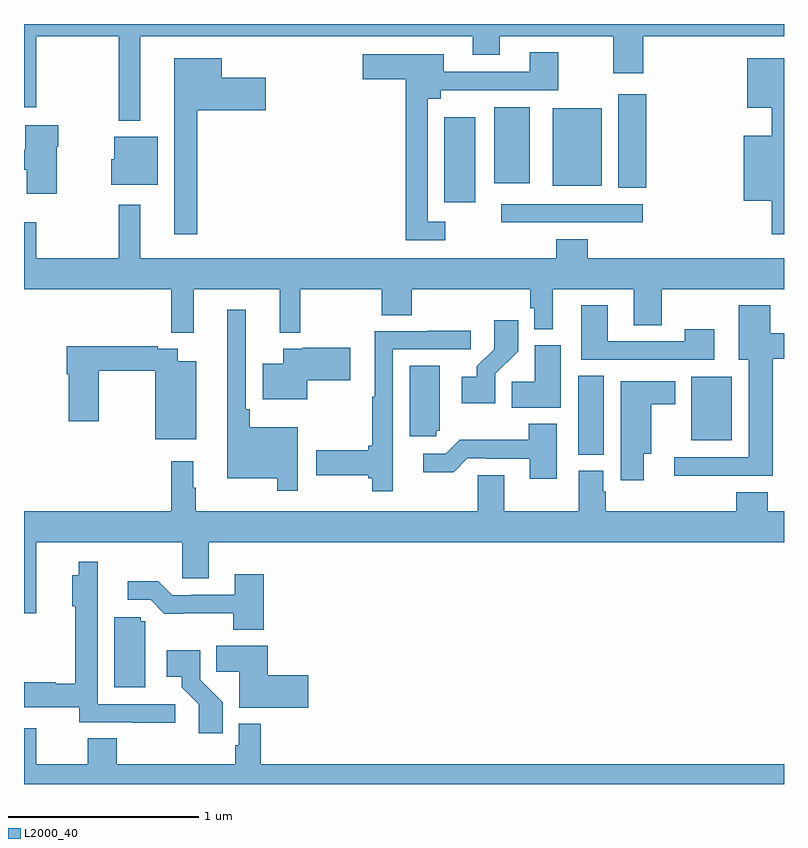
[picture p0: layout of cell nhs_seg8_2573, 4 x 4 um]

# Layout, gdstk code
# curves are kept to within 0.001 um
import gdstk
lib = gdstk.Library(unit=1e-6, precision=1e-09)
def R(c, l, rs):  # rectangles x0, y0, x1, y1
    for r in rs: c.add(gdstk.rectangle(r[:2], r[2:], *l))
def P(c, l, *ps):  # polygons
    for p in ps: c.add(gdstk.Polygon(p, *l))
L2000_40 = (2000, 40)

nhs_seg8_2573 = lib.new_cell('nhs_seg8_2573')
R(nhs_seg8_2573, L2000_40, [(275.918,1111.633,276.052,1112.048), (276.512,1111.709,276.724,1112.044), (275.511,1112.856,276.256,1112.952), (275.213,1112.961,275.374,1113.409), (276.128,1113.037,276.275,1113.529), (275.783,1113.05,276.04,1113.457), (275.474,1113.062,275.662,1113.463)])
P(nhs_seg8_2573, L2000_40, [(273.613,1113.836),(275.363,1113.836),(275.363,1113.737),(275.503,1113.737),(275.503,1113.836),(276.1,1113.836),(276.1,1113.642),(276.26,1113.642),(276.26,1113.836),(277,1113.836),(277,1113.9),(273,1113.9),(273,1113.462),(273.064,1113.462),(273.064,1113.836),(273.499,1113.836),(273.499,1113.392),(273.613,1113.392)],
  [(275.218,1112.859),(275.124,1112.859),(275.124,1113.506),(275.194,1113.506),(275.194,1113.552),(275.811,1113.552),(275.811,1113.751),(275.663,1113.751),(275.663,1113.648),(275.209,1113.648),(275.209,1113.742),(274.782,1113.742),(274.782,1113.608),(275.008,1113.608),(275.008,1112.763),(275.218,1112.763)],
  [(277,1113.721),(276.806,1113.721),(276.806,1113.458),(276.936,1113.458),(276.936,1113.313),(276.788,1113.313),(276.788,1112.969),(276.936,1112.969),(276.936,1112.793),(277,1112.793)],
  [(273.913,1113.446),(274.273,1113.446),(274.273,1113.616),(274.042,1113.616),(274.042,1113.721),(273.791,1113.721),(273.791,1112.793),(273.913,1112.793)],
  [(273.172,1113.254),(273.18,1113.254),(273.18,1113.367),(273.007,1113.367),(273.007,1113.237),(273,1113.237),(273,1113.133),(273.014,1113.133),(273.014,1113.006),(273.172,1113.006)],
  [(273.703,1113.307),(273.476,1113.307),(273.476,1113.189),(273.458,1113.189),(273.458,1113.053),(273.703,1113.053)],
  [(273.893,1112.504),(274.346,1112.504),(274.346,1112.276),(274.453,1112.276),(274.453,1112.504),(274.882,1112.504),(274.882,1112.368),(275.042,1112.368),(275.042,1112.504),(275.665,1112.504),(275.665,1112.403),(275.685,1112.403),(275.685,1112.294),(275.782,1112.294),(275.782,1112.504),(276.209,1112.504),(276.209,1112.314),(276.357,1112.314),(276.357,1112.504),(277,1112.504),(277,1112.668),(275.966,1112.668),(275.966,1112.767),(275.801,1112.767),(275.801,1112.668),(273.613,1112.668),(273.613,1112.95),(273.499,1112.95),(273.499,1112.668),(273.064,1112.668),(273.064,1112.857),(273,1112.857),(273,1112.504),(273.775,1112.504),(273.775,1112.275),(273.893,1112.275)],
  [(276.941,1112.138),(277,1112.138),(277,1112.272),(276.928,1112.272),(276.928,1112.419),(276.761,1112.419),(276.761,1112.132),(276.815,1112.132),(276.815,1111.62),(276.423,1111.62),(276.423,1111.523),(276.941,1111.523)],
  [(276.634,1112.293),(276.478,1112.293),(276.478,1112.229),(276.073,1112.229),(276.073,1112.419),(275.933,1112.419),(275.933,1112.133),(276.634,1112.133)],
  [(274.44,1111.777),(274.187,1111.777),(274.187,1111.873),(274.167,1111.873),(274.167,1112.395),(274.07,1112.395),(274.07,1111.508),(274.332,1111.508),(274.332,1111.443),(274.44,1111.443)],
  [(275.481,1112.059),(275.6,1112.178),(275.6,1112.341),(275.475,1112.341),(275.475,1112.189),(275.384,1112.099),(275.384,1112.044),(275.304,1112.044),(275.304,1111.904),(275.481,1111.904)],
  [(274.942,1111.662),(274.941,1111.662),(274.941,1112.187),(275.35,1112.187),(275.35,1112.286),(275.125,1112.286),(275.125,1112.283),(274.845,1112.283),(274.845,1111.937),(274.833,1111.937),(274.833,1111.679),(274.812,1111.679),(274.812,1111.656),(274.539,1111.656),(274.539,1111.526),(274.812,1111.526),(274.812,1111.508),(274.833,1111.508),(274.833,1111.44),(274.942,1111.44)],
  [(275.824,1112.209),(275.687,1112.209),(275.687,1112.018),(275.566,1112.018),(275.566,1111.88),(275.824,1111.88)],
  [(273.907,1112.125),(273.808,1112.125),(273.808,1112.19),(273.704,1112.19),(273.704,1112.203),(273.224,1112.203),(273.224,1112.057),(273.236,1112.057),(273.236,1111.809),(273.394,1111.809),(273.394,1112.074),(273.692,1112.074),(273.692,1111.715),(273.907,1111.715)],
  [(274.492,1112.026),(274.717,1112.026),(274.717,1112.196),(274.468,1112.196),(274.468,1112.191),(274.364,1112.191),(274.364,1112.113),(274.256,1112.113),(274.256,1111.925),(274.492,1111.925)],
  [(275.169,1111.758),(275.188,1111.758),(275.188,1112.102),(275.03,1112.102),(275.03,1111.731),(275.169,1111.731)],
  [(276.262,1111.637),(276.301,1111.637),(276.301,1111.898),(276.427,1111.898),(276.427,1112.02),(276.14,1112.02),(276.14,1111.5),(276.262,1111.5)],
  [(275.803,1111.795),(275.656,1111.795),(275.656,1111.711),(275.293,1111.711),(275.22,1111.638),(275.1,1111.638),(275.1,1111.541),(275.261,1111.541),(275.334,1111.614),(275.434,1111.614),(275.434,1111.611),(275.663,1111.611),(275.663,1111.506),(275.803,1111.506)],
  [(273.064,1111.172),(273.834,1111.172),(273.834,1110.982),(273.973,1110.982),(273.973,1111.172),(277,1111.172),(277,1111.336),(276.914,1111.336),(276.914,1111.435),(276.749,1111.435),(276.749,1111.336),(276.062,1111.336),(276.062,1111.437),(276.049,1111.437),(276.049,1111.548),(275.921,1111.548),(275.921,1111.336),(275.527,1111.336),(275.527,1111.526),(275.388,1111.526),(275.388,1111.336),(273.904,1111.336),(273.904,1111.46),(273.892,1111.46),(273.892,1111.6),(273.775,1111.6),(273.775,1111.336),(273,1111.336),(273,1110.798),(273.064,1110.798)],
  [(273.796,1110.321),(273.387,1110.321),(273.387,1110.846),(273.388,1110.846),(273.388,1111.069),(273.289,1111.069),(273.289,1111),(273.254,1111),(273.254,1110.835),(273.271,1110.835),(273.271,1110.427),(273.168,1110.427),(273.168,1110.435),(273,1110.435),(273,1110.305),(273.291,1110.305),(273.291,1110.225),(273.571,1110.225),(273.571,1110.223),(273.796,1110.223)],
  [(274.262,1111.003),(274.109,1111.003),(274.109,1110.897),(273.88,1110.897),(273.88,1110.894),(273.78,1110.894),(273.707,1110.967),(273.546,1110.967),(273.546,1110.87),(273.666,1110.87),(273.739,1110.797),(274.102,1110.798),(274.102,1110.713),(274.262,1110.713)],
  [(273.637,1110.756),(273.615,1110.756),(273.615,1110.777),(273.476,1110.777),(273.476,1110.408),(273.637,1110.408)],
  [(274.495,1110.473),(274.283,1110.473),(274.283,1110.628),(274.012,1110.628),(274.012,1110.49),(274.133,1110.49),(274.133,1110.302),(274.495,1110.302)],
  [(274.046,1110.33),(273.927,1110.449),(273.927,1110.604),(273.75,1110.604),(273.75,1110.464),(273.83,1110.464),(273.83,1110.409),(273.921,1110.319),(273.921,1110.168),(274.046,1110.168)],
  [(277,1110.004),(274.247,1110.004),(274.247,1110.217),(274.131,1110.217),(274.131,1110.105),(274.111,1110.105),(274.111,1110.004),(273.488,1110.004),(273.488,1110.14),(273.335,1110.14),(273.335,1110.004),(273.064,1110.004),(273.064,1110.193),(273,1110.193),(273,1109.9),(277,1109.9)])

lib.write_gds('nhs_seg8_2573.gds')
